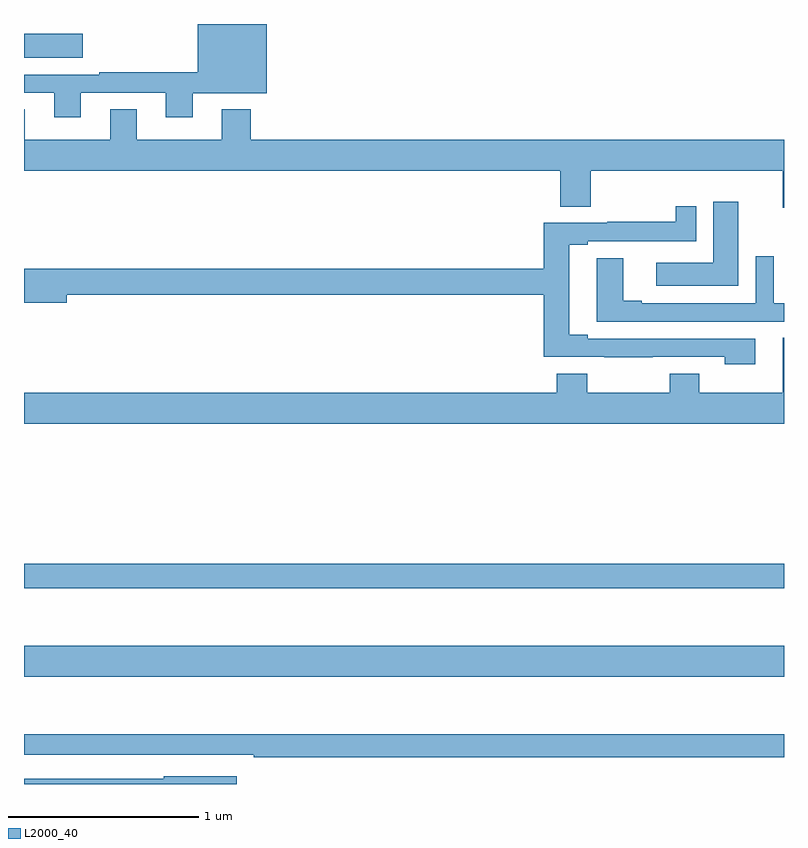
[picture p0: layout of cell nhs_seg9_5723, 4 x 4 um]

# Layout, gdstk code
import gdstk
lib = gdstk.Library(unit=1e-6, precision=1e-09)
def R(c, l, rs):  # rectangles x0, y0, x1, y1
    for r in rs: c.add(gdstk.rectangle(r[:2], r[2:], *l))
def P(c, l, *ps):  # polygons
    for p in ps: c.add(gdstk.Polygon(p, *l))
L2000_40 = (2000, 40)

nhs_seg9_5723 = lib.new_cell('nhs_seg9_5723')
R(nhs_seg9_5723, L2000_40, [(443,1219.064,447,1219.228), (443,1219.53,447,1219.658), (443,1222.322,443.308,1222.45)])
P(nhs_seg9_5723, L2000_40, [(443.299,1222.137),(443.747,1222.137),(443.747,1222.008),(443.887,1222.008),(443.887,1222.136),(444.277,1222.136),(444.277,1222.5),(443.915,1222.5),(443.915,1222.246),(443.395,1222.246),(443.395,1222.233),(443,1222.233),(443,1222.137),(443.159,1222.137),(443.159,1222.008),(443.299,1222.008)],
  [(447,1221.892),(444.194,1221.892),(444.194,1222.051),(444.041,1222.051),(444.041,1221.892),(443.593,1221.892),(443.593,1222.052),(443.453,1222.052),(443.453,1221.892),(443.005,1221.892),(443.005,1222.052),(443,1222.052),(443,1221.728),(445.823,1221.728),(445.823,1221.538),(445.983,1221.538),(445.983,1221.728),(446.993,1221.728),(446.993,1221.534),(447,1221.534)],
  [(446.758,1221.565),(446.627,1221.565),(446.627,1221.244),(446.328,1221.244),(446.328,1221.122),(446.758,1221.122)],
  [(446.848,1220.844),(445.966,1220.844),(445.966,1220.864),(445.87,1220.864),(445.87,1221.337),(445.966,1221.337),(445.966,1221.357),(446.538,1221.357),(446.538,1221.541),(446.43,1221.541),(446.43,1221.458),(446.071,1221.458),(446.071,1221.453),(445.736,1221.453),(445.736,1221.212),(443,1221.212),(443,1221.034),(443.224,1221.034),(443.224,1221.076),(445.736,1221.076),(445.736,1220.748),(446.053,1220.748),(446.053,1220.747),(446.309,1220.747),(446.309,1220.748),(446.687,1220.748),(446.687,1220.708),(446.848,1220.708)],
  [(447,1221.03),(446.946,1221.03),(446.946,1221.277),(446.85,1221.277),(446.85,1221.03),(446.251,1221.03),(446.251,1221.043),(446.155,1221.043),(446.155,1221.268),(446.015,1221.268),(446.015,1220.934),(447,1220.934)],
  [(447,1220.849),(446.993,1220.849),(446.993,1220.56),(446.553,1220.56),(446.553,1220.659),(446.398,1220.659),(446.398,1220.56),(445.965,1220.56),(445.965,1220.659),(445.805,1220.659),(445.805,1220.56),(443,1220.56),(443,1220.396),(447,1220.396)],
  [(447,1218.763),(443,1218.763),(443,1218.654),(444.208,1218.654),(444.208,1218.642),(447,1218.642)],
  [(444.121,1218.541),(443.736,1218.541),(443.736,1218.528),(443,1218.528),(443,1218.5),(444.121,1218.5)])

lib.write_gds('nhs_seg9_5723.gds')
